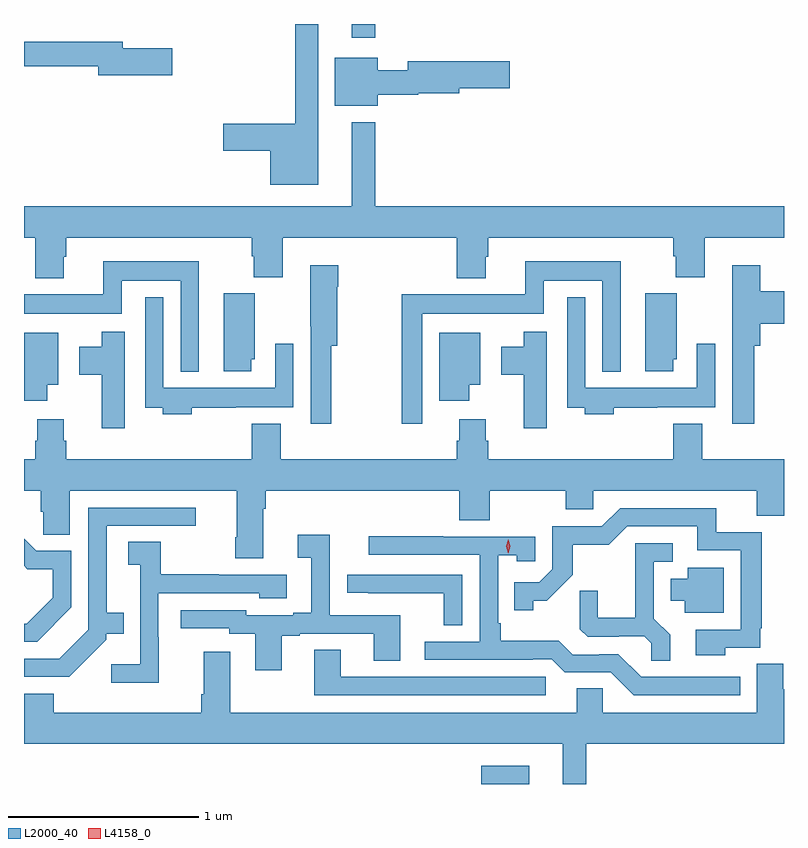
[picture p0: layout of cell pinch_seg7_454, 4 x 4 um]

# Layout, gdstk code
import gdstk
lib = gdstk.Library(unit=1e-6, precision=1e-09)
def R(c, l, rs):  # rectangles x0, y0, x1, y1
    for r in rs: c.add(gdstk.rectangle(r[:2], r[2:], *l))
def P(c, l, *ps):  # polygons
    for p in ps: c.add(gdstk.Polygon(p, *l))
L2000_40 = (2000, 40)
L4158_0 = (4158, 0)

pinch_seg7_454 = lib.new_cell('pinch_seg7_454')
R(pinch_seg7_454, L2000_40, [(339.41,1068.336,339.661,1068.433), (338.729,1072.263,338.851,1072.336)])
P(pinch_seg7_454, L2000_40, [(338.551,1072.336),(338.43,1072.336),(338.43,1071.812),(338.052,1071.812),(338.052,1071.67),(338.3,1071.67),(338.3,1071.491),(338.551,1071.491)],
  [(337.783,1072.209),(337.522,1072.209),(337.522,1072.243),(337.003,1072.243),(337.003,1072.114),(337.394,1072.114),(337.394,1072.067),(337.783,1072.067)],
  [(338.866,1071.964),(339.078,1071.964),(339.078,1071.972),(339.294,1071.972),(339.294,1071.998),(339.559,1071.998),(339.559,1072.14),(339.023,1072.14),(339.023,1072.093),(338.866,1072.093),(338.866,1072.159),(338.639,1072.159),(338.639,1071.905),(338.866,1071.905)],
  [(337.213,1071.111),(337.226,1071.111),(337.226,1071.212),(338.201,1071.212),(338.201,1071.113),(338.213,1071.113),(338.213,1071.004),(338.366,1071.004),(338.366,1071.212),(339.281,1071.212),(339.281,1070.999),(339.433,1070.999),(339.433,1071.111),(339.446,1071.111),(339.446,1071.212),(340.421,1071.212),(340.421,1071.113),(340.433,1071.113),(340.433,1071.004),(340.586,1071.004),(340.586,1071.212),(341.003,1071.212),(341.003,1071.376),(338.851,1071.376),(338.851,1071.82),(338.729,1071.82),(338.729,1071.376),(337.003,1071.376),(337.003,1071.212),(337.061,1071.212),(337.061,1070.999),(337.213,1070.999)],
  [(339.099,1070.81),(339.738,1070.81),(339.738,1070.984),(340.047,1070.984),(340.047,1070.507),(340.144,1070.507),(340.144,1071.088),(339.641,1071.088),(339.641,1070.914),(338.991,1070.914),(338.991,1070.232),(339.099,1070.232)],
  [(337.924,1071.088),(337.421,1071.088),(337.421,1070.914),(337.003,1070.914),(337.003,1070.81),(337.518,1070.81),(337.518,1070.984),(337.827,1070.984),(337.827,1070.507),(337.924,1070.507)],
  [(338.62,1070.642),(338.652,1070.642),(338.652,1070.954),(338.657,1070.954),(338.657,1071.067),(338.51,1071.067),(338.51,1070.746),(338.511,1070.746),(338.511,1070.232),(338.62,1070.232)],
  [(340.847,1070.642),(340.877,1070.642),(340.877,1070.759),(341.003,1070.759),(341.003,1070.929),(340.877,1070.929),(340.877,1071.067),(340.73,1071.067),(340.73,1070.775),(340.731,1070.775),(340.731,1070.232),(340.847,1070.232)],
  [(338.2,1070.571),(338.218,1070.571),(338.218,1070.919),(338.054,1070.919),(338.054,1070.508),(338.2,1070.508)],
  [(340.42,1070.571),(340.438,1070.571),(340.438,1070.919),(340.274,1070.919),(340.274,1070.508),(340.42,1070.508)],
  [(337.886,1070.316),(338.117,1070.316),(338.117,1070.318),(338.421,1070.318),(338.421,1070.653),(338.325,1070.653),(338.325,1070.422),(337.737,1070.422),(337.737,1070.899),(337.641,1070.899),(337.641,1070.316),(337.733,1070.316),(337.733,1070.282),(337.886,1070.282)],
  [(340.106,1070.316),(340.337,1070.316),(340.337,1070.318),(340.641,1070.318),(340.641,1070.653),(340.545,1070.653),(340.545,1070.422),(339.957,1070.422),(339.957,1070.899),(339.861,1070.899),(339.861,1070.316),(339.953,1070.316),(339.953,1070.282),(340.106,1070.282)],
  [(339.754,1070.716),(339.632,1070.716),(339.632,1070.638),(339.515,1070.638),(339.515,1070.491),(339.632,1070.491),(339.632,1070.208),(339.754,1070.208)],
  [(337.534,1070.716),(337.412,1070.716),(337.412,1070.638),(337.295,1070.638),(337.295,1070.491),(337.412,1070.491),(337.412,1070.208),(337.534,1070.208)],
  [(339.346,1070.438),(339.403,1070.438),(339.403,1070.71),(339.188,1070.71),(339.188,1070.352),(339.346,1070.352)],
  [(337.126,1070.438),(337.183,1070.438),(337.183,1070.71),(337.003,1070.71),(337.003,1070.352),(337.126,1070.352)],
  [(339.446,1070.142),(339.433,1070.142),(339.433,1070.257),(339.293,1070.257),(339.293,1070.142),(339.281,1070.142),(339.281,1070.044),(338.353,1070.044),(338.353,1070.233),(338.201,1070.233),(338.201,1070.044),(337.226,1070.044),(337.226,1070.142),(337.213,1070.142),(337.213,1070.257),(337.073,1070.257),(337.073,1070.142),(337.061,1070.142),(337.061,1070.044),(337.003,1070.044),(337.003,1069.88),(337.091,1069.88),(337.091,1069.77),(337.105,1069.77),(337.105,1069.648),(337.243,1069.648),(337.243,1069.88),(338.123,1069.88),(338.123,1069.636),(338.116,1069.636),(338.116,1069.524),(338.263,1069.524),(338.263,1069.784),(338.276,1069.784),(338.276,1069.88),(339.293,1069.88),(339.293,1069.723),(339.453,1069.723),(339.453,1069.88),(339.853,1069.88),(339.853,1069.782),(339.999,1069.782),(339.999,1069.88),(340.859,1069.88),(340.859,1069.747),(341.003,1069.747),(341.003,1070.044),(340.573,1070.044),(340.573,1070.233),(340.421,1070.233),(340.421,1070.044),(339.446,1070.044)],
  [(337.437,1069.095),(337.437,1069.127),(337.529,1069.127),(337.529,1069.237),(337.438,1069.237),(337.438,1069.695),(337.906,1069.695),(337.906,1069.791),(337.341,1069.791),(337.341,1069.149),(337.188,1068.996),(337.003,1068.996),(337.003,1068.9),(337.242,1068.9)],
  [(340.695,1069.053),(340.877,1069.053),(340.877,1069.156),(340.885,1069.156),(340.885,1069.662),(340.646,1069.662),(340.646,1069.788),(340.14,1069.788),(340.044,1069.692),(339.783,1069.692),(339.783,1069.467),(339.714,1069.398),(339.583,1069.398),(339.583,1069.251),(339.684,1069.251),(339.684,1069.301),(339.754,1069.301),(339.892,1069.438),(339.892,1069.594),(340.081,1069.594),(340.179,1069.692),(340.547,1069.692),(340.547,1069.566),(340.776,1069.566),(340.776,1069.149),(340.539,1069.149),(340.539,1069.013),(340.695,1069.013)],
  [(338.359,1069.116),(338.455,1069.116),(338.455,1069.128),(338.843,1069.128),(338.843,1068.985),(338.983,1068.985),(338.983,1069.224),(338.613,1069.224),(338.613,1069.648),(338.445,1069.648),(338.445,1069.528),(338.516,1069.528),(338.516,1069.237),(338.42,1069.237),(338.42,1069.224),(338.172,1069.224),(338.172,1069.251),(337.827,1069.251),(337.827,1069.155),(338.082,1069.155),(338.082,1069.128),(338.219,1069.128),(338.219,1068.936),(338.359,1068.936)],
  [(340.774,1068.9),(340.251,1068.9),(340.131,1069.02),(340.03,1069.02),(340.03,1069.017),(339.891,1069.017),(339.818,1069.09),(339.511,1069.09),(339.511,1069.183),(339.498,1069.183),(339.498,1069.541),(339.597,1069.541),(339.597,1069.509),(339.693,1069.509),(339.693,1069.638),(339.209,1069.638),(339.209,1069.641),(338.817,1069.641),(338.817,1069.542),(339.402,1069.542),(339.402,1069.086),(339.111,1069.086),(339.111,1068.99),(339.68,1068.99),(339.68,1068.993),(339.78,1068.993),(339.849,1068.924),(340.092,1068.924),(340.212,1068.804),(340.774,1068.804)],
  [(337.251,1069.265),(337.251,1069.563),(337.068,1069.563),(337.003,1069.628),(337.003,1069.484),(337.021,1069.466),(337.154,1069.466),(337.154,1069.316),(337.017,1069.179),(337.003,1069.179),(337.003,1069.086),(337.072,1069.086)],
  [(337.713,1069.109),(337.71,1069.109),(337.71,1069.341),(338.241,1069.341),(338.241,1069.313),(338.386,1069.313),(338.386,1069.437),(338.027,1069.437),(338.027,1069.44),(337.723,1069.44),(337.723,1069.61),(337.551,1069.61),(337.551,1069.489),(337.614,1069.489),(337.614,1068.967),(337.461,1068.967),(337.461,1068.869),(337.713,1068.869)],
  [(340.403,1069.121),(340.317,1069.207),(340.317,1069.506),(340.417,1069.506),(340.417,1069.602),(340.22,1069.602),(340.22,1069.21),(340.022,1069.21),(340.022,1069.353),(339.928,1069.353),(339.928,1069.151),(339.969,1069.11),(340.134,1069.11),(340.134,1069.113),(340.268,1069.113),(340.305,1069.076),(340.305,1068.985),(340.403,1068.985)],
  [(340.687,1069.474),(340.496,1069.474),(340.496,1069.417),(340.406,1069.417),(340.406,1069.301),(340.481,1069.301),(340.481,1069.238),(340.687,1069.238)],
  [(339.309,1069.437),(338.703,1069.437),(338.703,1069.342),(338.815,1069.342),(338.815,1069.341),(339.211,1069.341),(339.211,1069.171),(339.309,1069.171)],
  [(339.748,1068.9),(338.671,1068.9),(338.671,1069.043),(338.531,1069.043),(338.531,1068.804),(339.748,1068.804)],
  [(340.859,1068.968),(340.859,1068.712),(340.05,1068.712),(340.05,1068.839),(339.911,1068.839),(339.911,1068.712),(338.089,1068.712),(338.089,1069.033),(337.949,1069.033),(337.949,1068.808),(337.937,1068.808),(337.937,1068.712),(337.16,1068.712),(337.16,1068.811),(337.003,1068.811),(337.003,1068.548),(339.839,1068.548),(339.839,1068.336),(339.961,1068.336),(339.961,1068.548),(341.003,1068.548),(341.003,1068.834),(340.999,1068.834),(340.999,1068.968)])
P(pinch_seg7_454, L4158_0, [(339.551,1069.551),(339.542,1069.587),(339.551,1069.622),(339.552,1069.623),(339.552,1069.622),(339.562,1069.587),(339.552,1069.551),(339.552,1069.551)])

lib.write_gds('pinch_seg7_454.gds')
